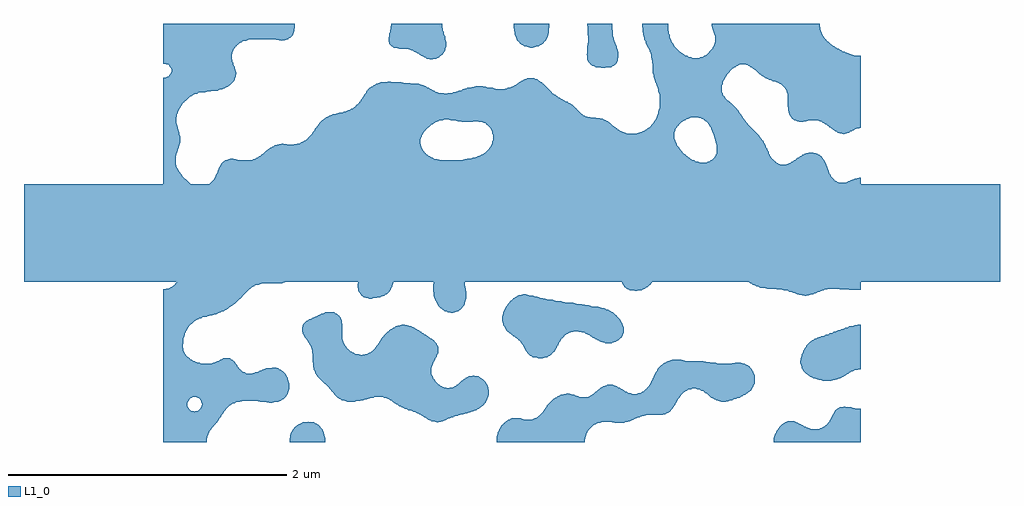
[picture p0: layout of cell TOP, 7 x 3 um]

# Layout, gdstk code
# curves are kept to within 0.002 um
import gdstk
lib = gdstk.Library(unit=1e-6, precision=1e-09)
def P(c, l, *ps):  # polygons
    for p in ps: c.add(gdstk.Polygon(p, *l))
L1_0 = (1, 0)

top = lib.new_cell('TOP')
P(top, L1_0, [(-2.5,-1.5),(-2.5,-0.403),(-2.46,-0.398),(-2.44,-0.388),(-2.402,-0.35),(-3.5,-0.35),(-3.5,0.35),(-2.5,0.35),(-2.5,1.115),(-2.48,1.117),(-2.46,1.127),(-2.45,1.139),(-2.442,1.16),(-2.444,1.18),(-2.46,1.202),(-2.47,1.209),(-2.5,1.214),(-2.5,1.5),(-2.273,1.5),(-2.273,0.997),(-2.32,0.969),(-2.368,0.92),(-2.388,0.89),(-2.406,0.84),(-2.407,0.79),(-2.38,0.693),(-2.379,0.67),(-2.38,0.65),(-2.39,0.612),(-2.407,0.57),(-2.413,0.53),(-2.408,0.48),(-2.394,0.45),(-2.366,0.41),(-2.31,0.356),(-2.3,0.35),(-2.273,0.35),(-2.273,-0.631),(-2.29,-0.642),(-2.31,-0.662),(-2.337,-0.7),(-2.34,-0.712),(-2.346,-0.72),(-2.357,-0.76),(-2.36,-0.8),(-2.357,-0.84),(-2.349,-0.86),(-2.336,-0.88),(-2.31,-0.903),(-2.29,-0.916),(-2.273,-0.922),(-2.273,-1.174),(-2.29,-1.176),(-2.31,-1.189),(-2.326,-1.21),(-2.329,-1.23),(-2.325,-1.25),(-2.309,-1.27),(-2.3,-1.277),(-2.273,-1.28),(-2.273,-1.5)],
  [(0.13,1.33),(0.09,1.339),(0.069,1.35),(0.039,1.38),(0.02,1.422),(0.012,1.5),(0.268,1.5),(0.26,1.418),(0.25,1.393),(0.24,1.378),(0.211,1.35),(0.192,1.34),(0.15,1.33)],
  [(0.66,1.185),(0.6,1.19),(0.577,1.2),(0.554,1.22),(0.54,1.244),(0.537,1.28),(0.54,1.34),(0.546,1.38),(0.541,1.5),(0.719,1.5),(0.724,1.41),(0.76,1.307),(0.763,1.27),(0.76,1.239),(0.75,1.219),(0.731,1.2),(0.711,1.19)],
  [(-0.59,1.247),(-0.61,1.25),(-0.62,1.257),(-0.63,1.259),(-0.69,1.298),(-0.73,1.314),(-0.84,1.328),(-0.849,1.33),(-0.864,1.34),(-0.88,1.359),(-0.884,1.38),(-0.88,1.431),(-0.872,1.45),(-0.866,1.5),(-0.5,1.5),(-0.498,1.46),(-0.48,1.411),(-0.472,1.37),(-0.471,1.35),(-0.48,1.31),(-0.5,1.28),(-0.523,1.26),(-0.543,1.25)],
  [(2.238,-1.06),(2.188,-1.05),(2.14,-1.03),(2.11,-1.01),(2.09,-0.988),(2.08,-0.972),(2.07,-0.942),(2.07,-0.903),(2.08,-0.867),(2.11,-0.811),(2.14,-0.78),(2.17,-0.76),(2.18,-0.758),(2.192,-0.75),(2.3,-0.715),(2.36,-0.69),(2.38,-0.686),(2.389,-0.68),(2.41,-0.676),(2.42,-0.67),(2.44,-0.668),(2.466,-0.66),(2.5,-0.659),(2.5,-0.976),(2.46,-0.982),(2.43,-0.996),(2.375,-1.03),(2.332,-1.05),(2.286,-1.06)],
  [(-0.111,-1.5),(-0.11,-1.459),(-0.1,-1.427),(-0.08,-1.389),(-0.042,-1.35),(-0.028,-1.34),(-0.002,-1.33),(0.05,-1.329),(0.08,-1.336),(0.13,-1.339),(0.15,-1.337),(0.17,-1.329),(0.19,-1.316),(0.21,-1.297),(0.25,-1.241),(0.288,-1.2),(0.329,-1.17),(0.34,-1.167),(0.35,-1.16),(0.4,-1.151),(0.447,-1.16),(0.49,-1.177),(0.54,-1.178),(0.58,-1.158),(0.612,-1.13),(0.655,-1.1),(0.684,-1.09),(0.7,-1.089),(0.723,-1.09),(0.753,-1.1),(0.83,-1.144),(0.87,-1.156),(0.9,-1.154),(0.92,-1.148),(0.934,-1.14),(0.934,-1.312),(0.9,-1.324),(0.892,-1.33),(0.844,-1.35),(0.804,-1.36),(0.737,-1.36),(0.69,-1.353),(0.66,-1.353),(0.61,-1.364),(0.58,-1.382),(0.544,-1.42),(0.533,-1.44),(0.525,-1.47),(0.523,-1.5)],
  [(0.934,-1.312),(0.934,-1.14),(0.96,-1.122),(0.988,-1.09),(1.018,-1.03),(1.02,-1.019),(1.027,-1.01),(1.03,-0.999),(1.049,-0.97),(1.08,-0.94),(1.116,-0.92),(1.15,-0.91),(1.2,-0.909),(1.27,-0.919),(1.37,-0.921),(1.456,-0.93),(1.5,-0.938),(1.55,-0.938),(1.607,-0.93),(1.632,-0.93),(1.674,-0.94),(1.692,-0.95),(1.72,-0.978),(1.74,-1.019),(1.74,-1.081),(1.72,-1.12),(1.7,-1.14),(1.672,-1.16),(1.61,-1.19),(1.59,-1.194),(1.58,-1.2),(1.532,-1.21),(1.504,-1.21),(1.466,-1.2),(1.446,-1.19),(1.37,-1.133),(1.359,-1.13),(1.35,-1.123),(1.31,-1.115),(1.29,-1.117),(1.25,-1.131),(1.214,-1.16),(1.192,-1.19),(1.15,-1.261),(1.118,-1.29),(1.098,-1.3),(1.08,-1.303),(0.98,-1.303)],
  [(1.879,-1.5),(1.88,-1.462),(1.9,-1.417),(1.92,-1.39),(1.941,-1.37),(1.979,-1.35),(2.026,-1.35),(2.051,-1.36),(2.12,-1.398),(2.14,-1.404),(2.16,-1.408),(2.2,-1.406),(2.23,-1.394),(2.26,-1.37),(2.278,-1.35),(2.3,-1.304),(2.32,-1.272),(2.349,-1.25),(2.39,-1.246),(2.433,-1.25),(2.46,-1.258),(2.5,-1.26),(2.5,-1.5)],
  [(-1.595,-1.5),(-1.59,-1.446),(-1.57,-1.408),(-1.542,-1.38),(-1.526,-1.37),(-1.504,-1.36),(-1.48,-1.356),(-1.46,-1.354),(-1.42,-1.359),(-1.385,-1.38),(-1.359,-1.41),(-1.35,-1.429),(-1.34,-1.467),(-1.339,-1.5)],
  [(-2.273,0.997),(-2.273,1.5),(-2.005,1.5),(-2.005,1.297),(-2.009,1.28),(-2.009,1.25),(-2.005,1.228),(-2.005,1.079),(-2.04,1.049),(-2.079,1.03),(-2.12,1.019),(-2.23,1.009)],
  [(-2.273,-0.631),(-2.273,0.35),(-2.17,0.35),(-2.134,0.39),(-2.114,0.43),(-2.1,0.472),(-2.08,0.502),(-2.058,0.52),(-2.031,0.53),(-2.005,0.531),(-2.005,-0.518),(-2.051,-0.55),(-2.08,-0.563),(-2.089,-0.57),(-2.149,-0.59),(-2.17,-0.592),(-2.192,-0.6),(-2.22,-0.605),(-2.228,-0.61),(-2.24,-0.612)],
  [(-2.273,-1.5),(-2.273,-1.28),(-2.25,-1.274),(-2.24,-1.265),(-2.225,-1.24),(-2.223,-1.23),(-2.227,-1.21),(-2.24,-1.19),(-2.26,-1.177),(-2.273,-1.174),(-2.273,-0.922),(-2.23,-0.936),(-2.18,-0.939),(-2.15,-0.935),(-2.142,-0.93),(-2.13,-0.928),(-2.07,-0.9),(-2.022,-0.9),(-2.005,-0.91),(-2.005,-1.226),(-2.03,-1.242),(-2.057,-1.27),(-2.11,-1.349),(-2.167,-1.42),(-2.187,-1.46),(-2.189,-1.5)],
  [(-2.005,1.297),(-2.005,1.5),(-1.67,1.5),(-1.67,1.382),(-1.75,1.39),(-1.86,1.389),(-1.9,1.384),(-1.93,1.375),(-1.96,1.358),(-1.988,1.33)],
  [(-2.005,1.079),(-2.005,1.228),(-2,1.22),(-1.995,1.2),(-1.99,1.193),(-1.988,1.18),(-1.98,1.161),(-1.979,1.15),(-1.98,1.125),(-1.989,1.1)],
  [(-2.005,-0.518),(-2.005,0.531),(-1.985,0.53),(-1.94,0.521),(-1.87,0.523),(-1.84,0.533),(-1.82,0.544),(-1.721,0.62),(-1.71,0.623),(-1.7,0.63),(-1.67,0.636),(-1.67,-0.361),(-1.79,-0.362),(-1.84,-0.375),(-1.87,-0.392),(-1.9,-0.418),(-1.969,-0.49)],
  [(-2.005,-1.226),(-2.005,-0.91),(-1.99,-0.924),(-1.949,-0.98),(-1.93,-0.996),(-1.9,-1.008),(-1.88,-1.009),(-1.85,-1.005),(-1.761,-0.97),(-1.71,-0.966),(-1.678,-0.97),(-1.67,-0.976),(-1.67,-1.206),(-1.68,-1.211),(-1.74,-1.216),(-1.804,-1.21),(-1.82,-1.205),(-1.85,-1.202),(-1.91,-1.202),(-1.94,-1.205),(-1.98,-1.214)],
  [(-1.65,1.38),(-1.67,1.382),(-1.67,1.5),(-1.557,1.5),(-1.56,1.448),(-1.579,1.41),(-1.589,1.4),(-1.606,1.39)],
  [(-1.024,-0.47),(-1.062,-0.46),(-1.077,-0.45),(-1.09,-0.436),(-1.1,-0.42),(-1.102,-0.41),(-1.105,-0.39),(-1.103,-0.35),(-1.616,-0.35),(-1.649,-0.36),(-1.67,-0.361),(-1.67,0.636),(-1.64,0.639),(-1.57,0.634),(-1.53,0.641),(-1.5,0.653),(-1.47,0.674),(-1.444,0.7),(-1.39,0.777),(-1.36,0.81),(-1.331,0.83),(-1.285,0.85),(-1.26,0.854),(-1.247,0.86),(-1.22,0.863),(-1.16,0.884),(-1.13,0.903),(-1.1,0.931),(-1.084,0.95),(-1.04,1.019),(-1.008,1.05),(-0.97,1.071),(-0.943,1.08),(-0.889,1.085),(-0.889,-0.43),(-0.918,-0.45),(-0.946,-0.46),(-1.007,-0.47)],
  [(-1.67,-1.206),(-1.67,-0.976),(-1.658,-0.98),(-1.646,-0.99),(-1.62,-1.019),(-1.61,-1.039),(-1.599,-1.08),(-1.6,-1.13),(-1.61,-1.155),(-1.619,-1.17),(-1.64,-1.191)],
  [(-0.889,0.65),(-0.889,1.085),(-0.796,1.08),(-0.75,1.073),(-0.67,1.07),(-0.636,1.06),(-0.614,1.05),(-0.55,1.013),(-0.51,1.001),(-0.44,1.002),(-0.39,1.015),(-0.383,1.02),(-0.338,1.033),(-0.338,0.798),(-0.385,0.8),(-0.46,0.815),(-0.48,0.815),(-0.52,0.807),(-0.54,0.798),(-0.58,0.775),(-0.628,0.73),(-0.647,0.7),(-0.657,0.67),(-0.658,0.65)],
  [(-0.44,-0.571),(-0.453,-0.57),(-0.48,-0.561),(-0.498,-0.55),(-0.521,-0.53),(-0.54,-0.502),(-0.55,-0.483),(-0.56,-0.453),(-0.565,-0.4),(-0.562,-0.35),(-0.849,-0.35),(-0.86,-0.387),(-0.872,-0.41),(-0.889,-0.43),(-0.889,0.65),(-0.658,0.65),(-0.656,0.63),(-0.648,0.61),(-0.629,0.58),(-0.6,0.554),(-0.56,0.534),(-0.52,0.524),(-0.49,0.521),(-0.4,0.521),(-0.338,0.528),(-0.338,-0.35),(-0.341,-0.35),(-0.338,-0.37),(-0.338,-0.5),(-0.34,-0.51),(-0.35,-0.526),(-0.371,-0.55),(-0.387,-0.56),(-0.414,-0.57)],
  [(-0.338,-0.35),(-0.338,0.528),(-0.3,0.532),(-0.279,0.54),(-0.26,0.543),(-0.23,0.554),(-0.2,0.571),(-0.177,0.59),(-0.152,0.62),(-0.143,0.64),(-0.135,0.68),(-0.136,0.7),(-0.143,0.73),(-0.153,0.75),(-0.19,0.786),(-0.21,0.795),(-0.23,0.799),(-0.338,0.798),(-0.338,1.033),(-0.32,1.04),(-0.26,1.051),(-0.193,1.05),(-0.1,1.032),(-0.05,1.033),(-0.01,1.044),(0.01,1.053),(0.068,1.09),(0.11,1.11),(0.16,1.11),(0.2,1.09),(0.29,1.004),(0.32,0.981),(0.37,0.952),(0.399,0.94),(0.431,0.92),(0.492,0.86),(0.51,0.846),(0.54,0.832),(0.65,0.82),(0.687,0.8),(0.74,0.758),(0.74,-0.35)],
  [(-0.338,-0.5),(-0.338,-0.37),(-0.334,-0.39),(-0.331,-0.4),(-0.33,-0.402),(-0.33,-0.41),(-0.329,-0.42),(-0.329,-0.47),(-0.33,-0.48),(-0.335,-0.49)],
  [(0.74,0.7),(0.74,0.758),(0.77,0.736),(0.8,0.722),(0.83,0.713),(0.89,0.713),(0.93,0.724),(0.97,0.747),(0.998,0.77),(1.015,0.79),(1.038,0.83),(1.049,0.86),(1.058,0.9),(1.058,0.99),(1.045,1.04),(1.02,1.107),(1.017,1.13),(1.01,1.15),(1.007,1.23),(0.998,1.28),(0.978,1.33),(0.96,1.362),(0.94,1.418),(0.933,1.5),(1.121,1.5),(1.123,1.44),(1.13,1.421),(1.133,1.4),(1.152,1.36),(1.165,1.34),(1.192,1.31),(1.233,1.281),(1.233,0.806),(1.211,0.79),(1.182,0.76),(1.171,0.74),(1.162,0.7)],
  [(0.88,-0.414),(0.844,-0.41),(0.824,-0.4),(0.81,-0.39),(0.8,-0.378),(0.789,-0.35),(0.74,-0.35),(0.74,0.7),(1.162,0.7),(1.164,0.68),(1.173,0.65),(1.183,0.63),(1.213,0.59),(1.233,0.57),(1.233,-0.35),(1.006,-0.35),(0.99,-0.371),(0.952,-0.4),(0.93,-0.41)],
  [(1.233,-0.35),(1.233,0.57),(1.28,0.533),(1.32,0.512),(1.35,0.504),(1.38,0.503),(1.41,0.511),(1.43,0.521),(1.458,0.55),(1.469,0.58),(1.468,0.63),(1.446,0.71),(1.44,0.719),(1.425,0.76),(1.394,0.8),(1.37,0.818),(1.35,0.826),(1.32,0.83),(1.28,0.827),(1.25,0.816),(1.233,0.806),(1.233,1.281),(1.27,1.262),(1.31,1.253),(1.33,1.253),(1.37,1.264),(1.39,1.275),(1.42,1.302),(1.447,1.34),(1.458,1.38),(1.455,1.42),(1.439,1.46),(1.433,1.5),(1.648,1.5),(1.648,1.21),(1.63,1.207),(1.61,1.197),(1.58,1.177),(1.553,1.15),(1.532,1.12),(1.516,1.09),(1.506,1.06),(1.503,1.04),(1.503,1.02),(1.513,0.99),(1.537,0.96),(1.61,0.893),(1.648,0.84),(1.648,-0.35)],
  [(2.06,0.799),(2.047,0.8),(2.011,0.82),(1.99,0.85),(1.98,0.888),(1.977,1),(1.964,1.03),(1.94,1.058),(1.91,1.078),(1.87,1.09),(1.82,1.11),(1.79,1.129),(1.72,1.187),(1.69,1.205),(1.67,1.21),(1.648,1.21),(1.648,1.5),(2.102,1.5),(2.102,0.8)],
  [(2.1,-0.45),(2.047,-0.44),(1.98,-0.415),(1.93,-0.404),(1.83,-0.4),(1.775,-0.39),(1.727,-0.37),(1.697,-0.35),(1.648,-0.35),(1.648,0.84),(1.692,0.78),(1.77,0.7),(1.801,0.66),(1.82,0.625),(1.833,0.59),(1.84,0.581),(1.842,0.57),(1.85,0.56),(1.853,0.55),(1.877,0.52),(1.9,0.502),(1.93,0.491),(1.96,0.491),(1.98,0.495),(2,0.504),(2.083,0.56),(2.102,0.568)],
  [(2.38,0.71),(2.337,0.72),(2.33,0.726),(2.32,0.729),(2.24,0.787),(2.2,0.805),(2.18,0.809),(2.14,0.809),(2.102,0.8),(2.102,1.5),(2.206,1.5),(2.213,1.45),(2.232,1.41),(2.256,1.38),(2.29,1.351),(2.35,1.315),(2.42,1.284),(2.46,1.273),(2.5,1.271),(2.5,0.754),(2.47,0.748),(2.419,0.72)],
  [(2.102,-0.45),(2.104,0.57),(2.14,0.576),(2.16,0.575),(2.187,0.57),(2.217,0.55),(2.24,0.522),(2.26,0.476),(2.274,0.43),(2.292,0.4),(2.32,0.373),(2.35,0.361),(2.37,0.36),(2.4,0.364),(2.458,0.39),(2.5,0.397),(2.5,0.35),(3.5,0.35),(3.5,-0.35),(2.5,-0.35),(2.5,-0.407),(2.34,-0.401),(2.26,-0.402),(2.22,-0.413),(2.184,-0.43),(2.17,-0.433),(2.16,-0.44)],
  [(0.19,-0.899),(0.149,-0.89),(0.12,-0.871),(0.09,-0.83),(0.069,-0.79),(0.04,-0.76),(-0.029,-0.71),(-0.05,-0.684),(-0.06,-0.666),(-0.07,-0.63),(-0.07,-0.603),(-0.06,-0.563),(-0.05,-0.541),(-0.03,-0.51),(0,-0.478),(0.023,-0.46),(0.042,-0.45),(0.08,-0.441),(0.1,-0.44),(0.153,-0.45),(0.17,-0.457),(0.234,-0.47),(0.25,-0.476),(0.34,-0.489),(0.34,-0.785),(0.31,-0.841),(0.29,-0.864),(0.27,-0.881),(0.252,-0.89),(0.21,-0.899)],
  [(0.69,-0.791),(0.67,-0.79),(0.637,-0.78),(0.58,-0.75),(0.54,-0.725),(0.51,-0.713),(0.47,-0.705),(0.45,-0.705),(0.42,-0.712),(0.39,-0.727),(0.363,-0.75),(0.34,-0.785),(0.34,-0.489),(0.502,-0.51),(0.53,-0.518),(0.62,-0.53),(0.64,-0.537),(0.661,-0.54),(0.706,-0.56),(0.746,-0.59),(0.781,-0.63),(0.79,-0.647),(0.8,-0.675),(0.8,-0.714),(0.79,-0.74),(0.762,-0.77),(0.745,-0.78),(0.714,-0.79)],
  [(-1.18,-1.21),(-1.22,-1.2),(-1.25,-1.181),(-1.28,-1.15),(-1.312,-1.11),(-1.375,-1.05),(-1.4,-1.022),(-1.421,-0.98),(-1.429,-0.92),(-1.431,-0.85),(-1.435,-0.83),(-1.453,-0.79),(-1.491,-0.74),(-1.501,-0.72),(-1.505,-0.68),(-1.5,-0.66),(-1.483,-0.64),(-1.455,-0.62),(-1.341,-0.57),(-1.31,-0.567),(-1.275,-0.57),(-1.257,-0.58),(-1.24,-0.595),(-1.23,-0.608),(-1.22,-0.629),(-1.216,-0.67),(-1.216,-0.76),(-1.207,-0.79),(-1.196,-0.81),(-1.168,-0.84),(-1.14,-0.859),(-1.12,-0.868),(-1.08,-0.875),(-1.08,-1.201),(-1.128,-1.21)],
  [(-0.578,-1.349),(-0.598,-1.34),(-0.67,-1.295),(-0.7,-1.282),(-0.71,-1.281),(-0.73,-1.272),(-0.743,-1.27),(-0.75,-1.265),(-0.771,-1.26),(-0.81,-1.241),(-0.88,-1.194),(-0.9,-1.184),(-0.93,-1.175),(-0.98,-1.175),(-0.992,-1.18),(-1.02,-1.184),(-1.03,-1.19),(-1.05,-1.193),(-1.068,-1.2),(-1.08,-1.201),(-1.08,-0.875),(-1.04,-0.868),(-1.02,-0.859),(-1,-0.845),(-0.962,-0.8),(-0.93,-0.749),(-0.91,-0.727),(-0.868,-0.69),(-0.83,-0.669),(-0.801,-0.66),(-0.77,-0.659),(-0.754,-0.66),(-0.721,-0.67),(-0.683,-0.69),(-0.578,-0.759)],
  [(-0.578,-0.97),(-0.578,-0.759),(-0.563,-0.77),(-0.54,-0.796),(-0.529,-0.82),(-0.528,-0.84),(-0.53,-0.862),(-0.54,-0.886),(-0.566,-0.93)],
  [(-0.54,-1.356),(-0.578,-1.349),(-0.578,-1.01),(-0.566,-1.04),(-0.544,-1.07),(-0.53,-1.084),(-0.49,-1.108),(-0.45,-1.112),(-0.42,-1.106),(-0.39,-1.088),(-0.332,-1.04),(-0.31,-1.029),(-0.28,-1.024),(-0.238,-1.03),(-0.219,-1.04),(-0.189,-1.07),(-0.17,-1.108),(-0.169,-1.17),(-0.18,-1.201),(-0.21,-1.24),(-0.238,-1.26),(-0.279,-1.28),(-0.41,-1.313),(-0.495,-1.35)])

lib.write_gds('TOP.gds')
